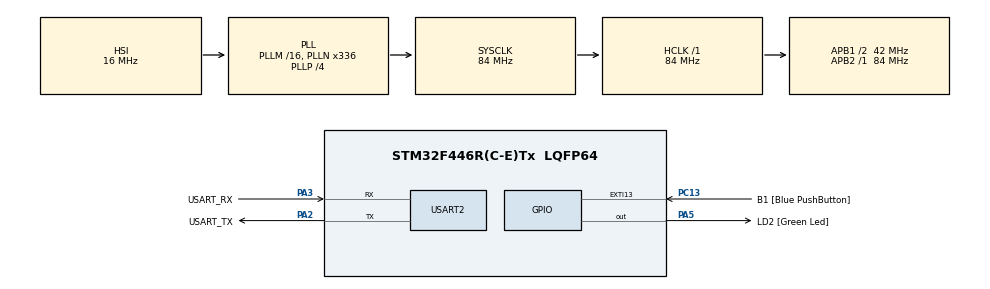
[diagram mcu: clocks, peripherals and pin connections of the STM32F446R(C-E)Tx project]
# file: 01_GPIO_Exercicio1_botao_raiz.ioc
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Mcu.Family=STM32F4
Mcu.Name=STM32F446R(C-E)Tx
Mcu.Package=LQFP64
NVIC.PriorityGroup=NVIC_PRIORITYGROUP_0
PA13.GPIO_Label=TMS
PA13.Mode=Serial_Wire
PA13.Signal=SYS_JTMS-SWDIO
PA14.GPIO_Label=TCK
PA14.Mode=Serial_Wire
PA14.Signal=SYS_JTCK-SWCLK
PA2.GPIO_Label=USART_TX
PA2.Mode=Asynchronous
PA2.Signal=USART2_TX
PA3.GPIO_Label=USART_RX
PA3.Mode=Asynchronous
PA3.Signal=USART2_RX
PA5.GPIO_Label=LD2 [Green Led]
PA5.Signal=GPIO_Output
PB3.GPIO_Label=SWO
PB3.Signal=SYS_JTDO-SWO
PC13.GPIO_Label=B1 [Blue PushButton]
PC13.GPIO_ModeDefaultEXTI=GPIO_MODE_IT_FALLING
PC13.Signal=GPXTI13
PC14-OSC32_IN.Mode=LSE-External-Oscillator
PC14-OSC32_IN.Signal=RCC_OSC32_IN
PC15-OSC32_OUT.Mode=LSE-External-Oscillator
PC15-OSC32_OUT.Signal=RCC_OSC32_OUT
PH0-OSC_IN.Mode=HSE-External-Oscillator
PH0-OSC_IN.Signal=RCC_OSC_IN
PH1-OSC_OUT.Mode=HSE-External-Oscillator
PH1-OSC_OUT.Signal=RCC_OSC_OUT
ProjectManager.HeapSize=0x200
ProjectManager.StackSize=0x400
ProjectManager.TargetToolchain=STM32CubeIDE
RCC.48MHZClocksFreq_Value=84000000
RCC.AHBFreq_Value=84000000
RCC.APB1CLKDivider=RCC_HCLK_DIV2
RCC.APB1Freq_Value=42000000
RCC.APB1TimFreq_Value=84000000
RCC.APB2Freq_Value=84000000
RCC.APB2TimFreq_Value=84000000
RCC.CortexFreq_Value=84000000
RCC.FLatency-AdvancedSettings=FLASH_LATENCY_2
RCC.HCLKFreq_Value=84000000
RCC.HSE_VALUE=8000000
RCC.HSI_VALUE=16000000
RCC.PLLN=336
RCC.PLLP=RCC_PLLP_DIV4
RCC.SYSCLKFreq_VALUE=84000000
RCC.SYSCLKSource=RCC_SYSCLKSOURCE_PLLCLK
RCC.USBFreq_Value=168000000
RCC.VCOOutputFreq_Value=336000000
USART2.VirtualMode=VM_ASYNC
board=NUCLEO-F446RE

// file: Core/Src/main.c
/* USER CODE BEGIN Header */
/**
  ******************************************************************************
  * @file           : main.c
  * @brief          : Main program body
  ******************************************************************************
  * @attention
  *
  * Copyright (c) 2022 STMicroelectronics.
  * All rights reserved.
  *
  * This software is licensed under terms that can be found in the LICENSE file
  * in the root directory of this software component.
  * If no LICENSE file comes with this software, it is provided AS-IS.
  *
  ******************************************************************************

	/*
	 * Autor: Pabllo Lins
	 * Versão: v.1.0
	 * Descrição: Firmware para entrega do capitulo de IOs
	 * Licença: N/A
	 * Data: 18/11/2022
	*/

	/*  Informações adicionais
	* PLACA: NUCLEO-F446RE
	* MCU: STM32F446RE
	* IDE: STM32CubeIDE Version: 1.10.1
	* Extension:
	* Framework:
	* Periferico: GPIO - PortC Pin 13 - B1 - Push Button User da placa
	* Periferico: GPIO - PortA Pin 05 - LD2 - LED 2 verde da placa
	*/

/* USER CODE END Header */
#include "main.h"

/* USER CODE BEGIN PD */
#define true 1
#define false 0

/* USER CODE END PD */

UART_HandleTypeDef huart2;

void SystemClock_Config(void);
static void MX_GPIO_Init(void);
static void MX_USART2_UART_Init(void);
/* USER CODE BEGIN PFP */
void vGPIOC_13_InitButtonB1();
void vPiscaPiscaLED2();
void vGPIOA_5_InitLED2();
/* USER CODE END PFP */

int main(void)
{

  /* MCU Configuration--------------------------------------------------------*/

  /* Reset of all peripherals, Initializes the Flash interface and the Systick. */
  HAL_Init();

  /* Configure the system clock */
  SystemClock_Config();

  /* Initialize all configured peripherals */
  //MX_GPIO_Init();
  MX_USART2_UART_Init();
  /* USER CODE BEGIN 2 */
  vGPIOA_5_InitLED2();
  vGPIOC_13_InitButtonB1();
  /* USER CODE END 2 */

  /* Infinite loop */
  while (1)
  {

    /* USER CODE BEGIN 3 */
	  while((GPIOC->IDR & (0x1<<13)) == 0 )
	  {
		  vPiscaPiscaLED2();
	  }
  }
  /* USER CODE END 3 */
}

void SystemClock_Config(void)
{
  RCC_OscInitTypeDef RCC_OscInitStruct = {0};
  RCC_ClkInitTypeDef RCC_ClkInitStruct = {0};

  /** Configure the main internal regulator output voltage
  */
  __HAL_RCC_PWR_CLK_ENABLE();
  __HAL_PWR_VOLTAGESCALING_CONFIG(PWR_REGULATOR_VOLTAGE_SCALE3);

  /** Initializes the RCC Oscillators according to the specified parameters
  * in the RCC_OscInitTypeDef structure.
  */
  RCC_OscInitStruct.OscillatorType = RCC_OSCILLATORTYPE_HSI;
  RCC_OscInitStruct.HSIState = RCC_HSI_ON;
  RCC_OscInitStruct.HSICalibrationValue = RCC_HSICALIBRATION_DEFAULT;
  RCC_OscInitStruct.PLL.PLLState = RCC_PLL_ON;
  RCC_OscInitStruct.PLL.PLLSource = RCC_PLLSOURCE_HSI;
  RCC_OscInitStruct.PLL.PLLM = 16;
  RCC_OscInitStruct.PLL.PLLN = 336;
  RCC_OscInitStruct.PLL.PLLP = RCC_PLLP_DIV4;
  RCC_OscInitStruct.PLL.PLLQ = 2;
  RCC_OscInitStruct.PLL.PLLR = 2;
  if (HAL_RCC_OscConfig(&RCC_OscInitStruct) != HAL_OK)
  {
    Error_Handler();
  }

  /** Initializes the CPU, AHB and APB buses clocks
  */
  RCC_ClkInitStruct.ClockType = RCC_CLOCKTYPE_HCLK|RCC_CLOCKTYPE_SYSCLK
                              |RCC_CLOCKTYPE_PCLK1|RCC_CLOCKTYPE_PCLK2;
  RCC_ClkInitStruct.SYSCLKSource = RCC_SYSCLKSOURCE_PLLCLK;
  RCC_ClkInitStruct.AHBCLKDivider = RCC_SYSCLK_DIV1;
  RCC_ClkInitStruct.APB1CLKDivider = RCC_HCLK_DIV2;
  RCC_ClkInitStruct.APB2CLKDivider = RCC_HCLK_DIV1;

  if (HAL_RCC_ClockConfig(&RCC_ClkInitStruct, FLASH_LATENCY_2) != HAL_OK)
  {
    Error_Handler();
  }
}

static void MX_USART2_UART_Init(void)
{

  huart2.Instance = USART2;
  huart2.Init.BaudRate = 115200;
  huart2.Init.WordLength = UART_WORDLENGTH_8B;
  huart2.Init.StopBits = UART_STOPBITS_1;
  huart2.Init.Parity = UART_PARITY_NONE;
  huart2.Init.Mode = UART_MODE_TX_RX;
  huart2.Init.HwFlowCtl = UART_HWCONTROL_NONE;
  huart2.Init.OverSampling = UART_OVERSAMPLING_16;
  if (HAL_UART_Init(&huart2) != HAL_OK)
  {
    Error_Handler();
  }

}

static void MX_GPIO_Init(void)
{
  GPIO_InitTypeDef GPIO_InitStruct = {0};

  /* GPIO Ports Clock Enable */
  __HAL_RCC_GPIOC_CLK_ENABLE();
  __HAL_RCC_GPIOH_CLK_ENABLE();
  __HAL_RCC_GPIOA_CLK_ENABLE();
  __HAL_RCC_GPIOB_CLK_ENABLE();

  /*Configure GPIO pin Output Level */
  HAL_GPIO_WritePin(LD2_GPIO_Port, LD2_Pin, GPIO_PIN_RESET);

  /*Configure GPIO pin : B1_Pin */
  GPIO_InitStruct.Pin = B1_Pin;
  GPIO_InitStruct.Mode = GPIO_MODE_IT_FALLING;
  GPIO_InitStruct.Pull = GPIO_NOPULL;
  HAL_GPIO_Init(B1_GPIO_Port, &GPIO_InitStruct);

  /*Configure GPIO pin : LD2_Pin */
  GPIO_InitStruct.Pin = LD2_Pin;
  GPIO_InitStruct.Mode = GPIO_MODE_OUTPUT_PP;
  GPIO_InitStruct.Pull = GPIO_NOPULL;
  GPIO_InitStruct.Speed = GPIO_SPEED_FREQ_LOW;
  HAL_GPIO_Init(LD2_GPIO_Port, &GPIO_InitStruct);

}

/* USER CODE BEGIN 4 */
void vGPIOC_13_InitButtonB1()
{
	//Botão B1 = PORT C pino 13
	uint32_t tmpreg = 0;

	/* Habilita o clock do PORTC */
	RCC->AHB1ENR |= 0x00000004;

	 /* Aguarda estabilizar */
	tmpreg = RCC->AHB1ENR;

	/* C13 Modo entrada (00) */
	GPIOC->MODER = (GPIOB->MODER & ~(0x3<<((2*13)+1)));
	//	(0x3<<((2*13)+1))	= xxxxx110000000000000000000000000
	//	~(0x3<<((2*13)+1))	= xxxxx001111111111111111111111111
	//	(AND)
	//	MODER				= xxxxxxxxxxxxxxxxxxxxxxxxxxxxxxxx
	//	MODER				= xxxxx00xxxxxxxxxxxxxxxxxxxxxxxxx

	/* Tipo push-pull (0) */
	GPIOC->OTYPER = (GPIOC->OTYPER & ~(0x1<<13));

	/* Velocidade: High Speed (11) */
	GPIOC->OSPEEDR = (GPIOC->OSPEEDR | (0x3<<((2*13)+1)));
	//	(0x3<<((2*13)+1))	= xxxxx110000000000000000000000000
	//	(OR)
	//	OSPEEDR				= xxxxxxxxxxxxxxxxxxxxxxxxxxxxxxxx
	//	OSPEEDR				= xxxxx11xxxxxxxxxxxxxxxxxxxxxxxxx

	/* Pull-Up (01) */
	GPIOC->PUPDR = (GPIOC->PUPDR & ~(0x3<<((2*13)+1))) | (0x1<<(2*13));
	//	(0x3<<27))		= xxxxx110000000000000000000000000
	//	~(0x3<<25))		= xxxxx001111111111111111111111111
	//	(AND)
	//	PUPDR			= xxxxxxxxxxxxxxxxxxxxxxxxxxxxxxxx
	//	PUPDR			= xxxxx00xxxxxxxxxxxxxxxxxxxxxxxxx

	//	(0x1<<(2*13))	= xxxxx010000000000000000000000000
	//	(OR)
	//	PUPDR			= xxxxx00xxxxxxxxxxxxxxxxxxxxxxxxx
	//	PUPDR			= xxxxx01xxxxxxxxxxxxxxxxxxxxxxxxx

	/* Estado inicial resetado '0’ */
	//GPIOA->ODR = (GPIOA->ODR & ~0x1<<5);
	GPIOC->BSRR = 0x1<<(13+16);
}

void vPiscaPiscaLED2(void)
{
	GPIOA->ODR = 0xFFFF;
	HAL_Delay(500);
	GPIOA->ODR = 0x0000;
	HAL_Delay(500);
}

void vGPIOA_5_InitLED2(void)
{
	uint32_t tmpreg = 0;

	/* Habilita o clock do PORTA */
	RCC->AHB1ENR |= 0x01;

	/* Aguarda estabilizar */
	tmpreg = RCC->AHB1ENR;

	/* Modo saída (01) */
	GPIOA->MODER = (GPIOA->MODER & ~(0x3<<(2*5))) | (0x1<<(2*5));

	/* Tipo push-pull (0) */
	GPIOA->OTYPER = (GPIOA->OTYPER & ~0x1<<5);

	/* Velocidade fast (10) */
	GPIOA->OSPEEDR = (GPIOA->OSPEEDR & ~(0x3<<(2*5))) | (0x2<<(2*5));

	/* Sem resistores internos (00) */
	GPIOA->PUPDR = (GPIOA->PUPDR & ~(0x3<<(2*5)));

	/* Estado inicial resetado '0’*/
	//GPIOA->ODR = (GPIOA->ODR & ~0x1<<5);
	GPIOA->BSRR = 0x1<<(5+16);
}

/* USER CODE END 4 */

void Error_Handler(void)
{
  __disable_irq();
  while (1)
  {
  }
}
